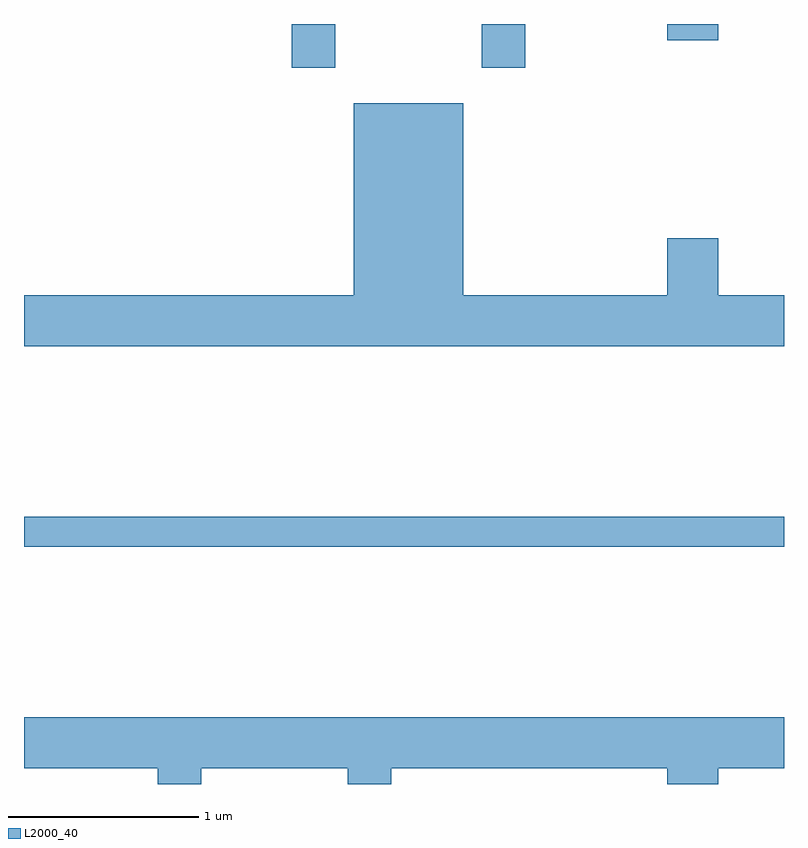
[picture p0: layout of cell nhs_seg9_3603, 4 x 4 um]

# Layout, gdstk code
import gdstk
lib = gdstk.Library(unit=1e-6, precision=1e-09)
def R(c, l, rs):  # rectangles x0, y0, x1, y1
    for r in rs: c.add(gdstk.rectangle(r[:2], r[2:], *l))
def P(c, l, *ps):  # polygons
    for p in ps: c.add(gdstk.Polygon(p, *l))
L2000_40 = (2000, 40)

nhs_seg9_3603 = lib.new_cell('nhs_seg9_3603')
R(nhs_seg9_3603, L2000_40, [(291.611,1959.681,295.611,1959.839), (293.021,1962.201,293.249,1962.432), (294.021,1962.201,294.249,1962.432), (294.996,1962.346,295.264,1962.432)])
P(nhs_seg9_3603, L2000_40, [(295.611,1961.004),(295.264,1961.004),(295.264,1961.304),(294.996,1961.304),(294.996,1961.004),(293.924,1961.004),(293.924,1962.014),(293.346,1962.014),(293.346,1961.004),(291.611,1961.004),(291.611,1960.736),(295.611,1960.736)],
  [(291.611,1958.516),(292.316,1958.516),(292.316,1958.432),(292.544,1958.432),(292.544,1958.516),(293.316,1958.516),(293.316,1958.432),(293.544,1958.432),(293.544,1958.516),(294.996,1958.516),(294.996,1958.432),(295.264,1958.432),(295.264,1958.516),(295.611,1958.516),(295.611,1958.784),(291.611,1958.784)])

lib.write_gds('nhs_seg9_3603.gds')
